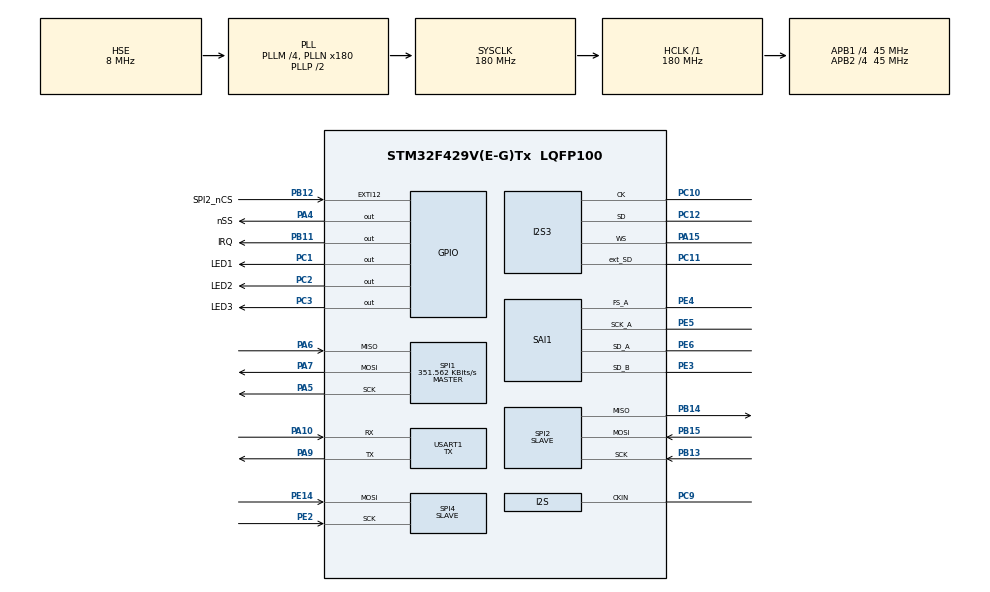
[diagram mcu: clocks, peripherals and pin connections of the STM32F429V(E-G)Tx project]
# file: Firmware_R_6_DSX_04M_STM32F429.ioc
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Dma.I2S3_EXT_RX.3.Direction=DMA_PERIPH_TO_MEMORY
Dma.I2S3_EXT_RX.3.FIFOMode=DMA_FIFOMODE_DISABLE
Dma.I2S3_EXT_RX.3.Instance=DMA1_Stream0
Dma.I2S3_EXT_RX.3.MemDataAlignment=DMA_MDATAALIGN_HALFWORD
Dma.I2S3_EXT_RX.3.MemInc=DMA_MINC_ENABLE
Dma.I2S3_EXT_RX.3.Mode=DMA_CIRCULAR
Dma.I2S3_EXT_RX.3.PeriphDataAlignment=DMA_PDATAALIGN_HALFWORD
Dma.I2S3_EXT_RX.3.PeriphInc=DMA_PINC_DISABLE
Dma.I2S3_EXT_RX.3.Priority=DMA_PRIORITY_HIGH
Dma.Request0=SAI1_B
Dma.Request1=SAI1_A
Dma.Request2=SPI3_TX
Dma.Request3=I2S3_EXT_RX
Dma.SAI1_A.1.Direction=DMA_MEMORY_TO_PERIPH
Dma.SAI1_A.1.FIFOMode=DMA_FIFOMODE_DISABLE
Dma.SAI1_A.1.Instance=DMA2_Stream1
Dma.SAI1_A.1.MemDataAlignment=DMA_MDATAALIGN_HALFWORD
Dma.SAI1_A.1.MemInc=DMA_MINC_ENABLE
Dma.SAI1_A.1.Mode=DMA_CIRCULAR
Dma.SAI1_A.1.PeriphDataAlignment=DMA_PDATAALIGN_HALFWORD
Dma.SAI1_A.1.PeriphInc=DMA_PINC_DISABLE
Dma.SAI1_A.1.Priority=DMA_PRIORITY_VERY_HIGH
Dma.SAI1_B.0.Direction=DMA_PERIPH_TO_MEMORY
Dma.SAI1_B.0.FIFOMode=DMA_FIFOMODE_DISABLE
Dma.SAI1_B.0.Instance=DMA2_Stream4
Dma.SAI1_B.0.MemDataAlignment=DMA_MDATAALIGN_HALFWORD
Dma.SAI1_B.0.MemInc=DMA_MINC_ENABLE
Dma.SAI1_B.0.Mode=DMA_CIRCULAR
Dma.SAI1_B.0.PeriphDataAlignment=DMA_PDATAALIGN_HALFWORD
Dma.SAI1_B.0.PeriphInc=DMA_PINC_DISABLE
Dma.SAI1_B.0.Priority=DMA_PRIORITY_VERY_HIGH
Dma.SPI3_TX.2.Direction=DMA_MEMORY_TO_PERIPH
Dma.SPI3_TX.2.FIFOMode=DMA_FIFOMODE_DISABLE
Dma.SPI3_TX.2.Instance=DMA1_Stream5
Dma.SPI3_TX.2.MemDataAlignment=DMA_MDATAALIGN_HALFWORD
Dma.SPI3_TX.2.MemInc=DMA_MINC_ENABLE
Dma.SPI3_TX.2.Mode=DMA_CIRCULAR
Dma.SPI3_TX.2.PeriphDataAlignment=DMA_PDATAALIGN_HALFWORD
Dma.SPI3_TX.2.PeriphInc=DMA_PINC_DISABLE
Dma.SPI3_TX.2.Priority=DMA_PRIORITY_HIGH
I2S3.AudioFreq=I2S_AUDIOFREQ_8K
I2S3.DataFormat=I2S_DATAFORMAT_16B
I2S3.ErrorAudioFreq=0.0 %
I2S3.FullDuplexMode=I2S_FULLDUPLEXMODE_ENABLE
I2S3.Instance=SPI$Index
I2S3.RealAudioFreq=8.0 KHz
I2S3.VirtualMode=I2S_MODE_MASTER
Mcu.Family=STM32F4
Mcu.Name=STM32F429V(E-G)Tx
Mcu.Package=LQFP100
NVIC.DMA1_Stream5_IRQn=true\:2\:0\:true\:false\:true\:false\:true
NVIC.DMA2_Stream4_IRQn=true\:1\:0\:true\:false\:true\:false\:true
NVIC.EXTI15_10_IRQn=true\:0\:0\:false\:false\:true\:true\:false
NVIC.PriorityGroup=NVIC_PRIORITYGROUP_4
NVIC.SPI2_IRQn=true\:0\:0\:true\:false\:true\:true\:true
NVIC.USART1_IRQn=true\:3\:0\:true\:false\:true\:true\:true
PA10.Mode=Asynchronous
PA10.Signal=USART1_RX
PA15.Mode=Full_Duplex_Master
PA15.Signal=I2S3_WS
PA4.GPIO_Label=nSS
PA4.GPIO_Speed=GPIO_SPEED_FREQ_HIGH
PA4.PinState=GPIO_PIN_SET
PA4.Signal=GPIO_Output
PA5.Mode=Full_Duplex_Master
PA5.Signal=SPI1_SCK
PA6.Mode=Full_Duplex_Master
PA6.Signal=SPI1_MISO
PA7.Mode=Full_Duplex_Master
PA7.Signal=SPI1_MOSI
PA9.Mode=Asynchronous
PA9.Signal=USART1_TX
PB11.GPIO_Label=IRQ
PB11.PinState=GPIO_PIN_SET
PB11.Signal=GPIO_Output
PB12.GPIO_Label=SPI2_nCS
PB12.GPIO_ModeDefaultEXTI=GPIO_MODE_IT_RISING_FALLING
PB12.GPIO_PuPd=GPIO_PULLUP
PB12.Signal=GPXTI12
PB13.Mode=Full_Duplex_Slave
PB13.Signal=SPI2_SCK
PB14.Mode=Full_Duplex_Slave
PB14.Signal=SPI2_MISO
PB15.Mode=Full_Duplex_Slave
PB15.Signal=SPI2_MOSI
PC1.GPIO_Label=LED1
PC1.PinState=GPIO_PIN_SET
PC1.Signal=GPIO_Output
PC10.Mode=Full_Duplex_Master
PC10.Signal=I2S3_CK
PC11.Mode=Full_Duplex_Master
PC11.Signal=I2S3_ext_SD
PC12.Mode=Full_Duplex_Master
PC12.Signal=I2S3_SD
PC2.GPIO_Label=LED2
PC2.Signal=GPIO_Output
PC3.GPIO_Label=LED3
PC3.Signal=GPIO_Output
PC9.Mode=Audio_ClockIn
PC9.Signal=I2S_CKIN
PE14.Mode=RX_Only_Simplex_Unidirect_Slave
PE14.Signal=SPI4_MOSI
PE2.Mode=RX_Only_Simplex_Unidirect_Slave
PE2.Signal=SPI4_SCK
PE3.GPIO_Speed=GPIO_SPEED_FREQ_VERY_HIGH
PE3.Mode=SAI_B_SyncSlave
PE3.Signal=SAI1_SD_B
PE4.GPIO_Speed=GPIO_SPEED_FREQ_VERY_HIGH
PE4.Mode=SAI_A_AsyncSlave
PE4.Signal=SAI1_FS_A
PE5.GPIO_Speed=GPIO_SPEED_FREQ_VERY_HIGH
PE5.Mode=SAI_A_AsyncSlave
PE5.Signal=SAI1_SCK_A
PE6.GPIO_Speed=GPIO_SPEED_FREQ_VERY_HIGH
PE6.Mode=SAI_A_AsyncSlave
PE6.Signal=SAI1_SD_A
PH0/OSC_IN.Mode=HSE-External-Oscillator
PH0/OSC_IN.Signal=RCC_OSC_IN
PH1/OSC_OUT.Mode=HSE-External-Oscillator
PH1/OSC_OUT.Signal=RCC_OSC_OUT
ProjectManager.HeapSize=0x1000
ProjectManager.StackSize=0x1000
ProjectManager.TargetToolchain=MDK-ARM V5.27
RCC.48MHZClocksFreq_Value=90000000
RCC.AHBFreq_Value=180000000
RCC.APB1CLKDivider=RCC_HCLK_DIV4
RCC.APB1Freq_Value=45000000
RCC.APB1TimFreq_Value=90000000
RCC.APB2CLKDivider=RCC_HCLK_DIV4
RCC.APB2Freq_Value=45000000
RCC.APB2TimFreq_Value=90000000
RCC.CortexFreq_Value=180000000
RCC.HCLKFreq_Value=180000000
RCC.HSE_VALUE=8000000
RCC.HSI_VALUE=16000000
RCC.LSE_VALUE=32768
RCC.PLLI2SR=5
RCC.PLLM=4
RCC.PLLN=180
RCC.PLLSAIN=216
RCC.PLLSAIQ=2
RCC.PLLSourceVirtual=RCC_PLLSOURCE_HSE
RCC.RCC_MCO2Source=RCC_MCO2SOURCE_HSE
RCC.RCC_MCODiv2=RCC_MCODIV_4
RCC.SYSCLKFreq_VALUE=180000000
RCC.SYSCLKSource=RCC_SYSCLKSOURCE_PLLCLK
RCC.VCOOutputFreq_Value=360000000
SAI1.AudioMode-SAI_A_AsyncSlave=SAI_MODESLAVE_TX
SAI1.ClockStrobing-SAI_A_AsyncSlave=SAI_CLOCKSTROBING_RISINGEDGE
SAI1.DataSize-SAI_A_AsyncSlave=SAI_DATASIZE_16
SAI1.DataSize-SAI_B_SyncSlave=SAI_DATASIZE_16
SAI1.FrameLength-SAI_A_AsyncSlave=256
SAI1.FrameLength-SAI_B_SyncSlave=256
SAI1.Instance-SAI_A_AsyncSlave=SAI$Index_Block_A
SAI1.Instance-SAI_B_SyncSlave=SAI$Index_Block_B
SAI1.Protocol-SAI_A_AsyncSlave=SAI_FREE_PROTOCOL
SAI1.SlotActive-SAI_A_AsyncSlave=0x00000003
SAI1.SlotActive-SAI_B_SyncSlave=0x00000003
SAI1.SlotNumber-SAI_A_AsyncSlave=16
SAI1.SlotNumber-SAI_B_SyncSlave=16
SAI1.Synchro_A=SAI_ASYNCHRONOUS
SAI1.Synchro_B=SAI_SYNCHRONOUS
SAI1.VirtualMode-SAI_A_AsyncSlave=VM_SLAVE
SAI1.VirtualMode-SAI_B_SyncSlave=VM_SLAVE
SAI1.VirtualSlotActive-SAI_A_AsyncSlave=SAI_SLOT_USERSETTING
SAI1.VirtualSlotActive-SAI_B_SyncSlave=SAI_SLOT_USERSETTING
SAI1.VirtualSlotActive0-SAI_A_AsyncSlave=true
SAI1.VirtualSlotActive0-SAI_B_SyncSlave=true
SAI1.VirtualSlotActive1-SAI_A_AsyncSlave=true
SAI1.VirtualSlotActive1-SAI_B_SyncSlave=true
SPI1.BaudRatePrescaler=SPI_BAUDRATEPRESCALER_128
SPI1.CLKPhase=SPI_PHASE_2EDGE
SPI1.CalculateBaudRate=351.562 KBits/s
SPI1.Direction=SPI_DIRECTION_2LINES
SPI1.Mode=SPI_MODE_MASTER
SPI1.VirtualType=VM_MASTER
SPI2.CLKPhase=SPI_PHASE_1EDGE
SPI2.CLKPolarity=SPI_POLARITY_HIGH
SPI2.Direction=SPI_DIRECTION_2LINES
SPI2.FirstBit=SPI_FIRSTBIT_LSB
SPI2.Mode=SPI_MODE_SLAVE
SPI2.VirtualType=VM_SLAVE
SPI4.CLKPhase=SPI_PHASE_2EDGE
SPI4.CLKPolarity=SPI_POLARITY_HIGH
SPI4.Direction=SPI_DIRECTION_2LINES_RXONLY
SPI4.FirstBit=SPI_FIRSTBIT_LSB
SPI4.Mode=SPI_MODE_SLAVE
SPI4.VirtualType=VM_SLAVE
TIM4.Period=702
TIM4.TIM_MasterOutputTrigger=TIM_TRGO_UPDATE
USART1.Mode=MODE_TX
USART1.VirtualMode=VM_ASYNC
VP_TIM4_VS_ClockSourceINT.Mode=Internal
board=custom

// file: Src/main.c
/* USER CODE BEGIN Header */
/**
 ******************************************************************************
 * @file           : main.c
 * @brief          : Main program body
 ******************************************************************************
 * @attention
 *
 * <h2><center>&copy; Copyright (c) 2020 STMicroelectronics.
 * All rights reserved.</center></h2>
 *
 * This software component is licensed by ST under BSD 3-Clause license,
 * the "License"; You may not use this file except in compliance with the
 * License. You may obtain a copy of the License at:
 *                        opensource.org/licenses/BSD-3-Clause
 *
 ******************************************************************************
 */
/* USER CODE END Header */

#include "main.h"

/* USER CODE BEGIN Includes */
#include "ST-BUS_SAI_in_out.h"
#include "uart.h"
#include "HDLC_Rx_low_level.h"
#include "spi_interface.h"
#include "mt9092_logic.h"
#include "g711.h"
#include "audio_in_out.h"
/* USER CODE END Includes */

I2S_HandleTypeDef hi2s3;
DMA_HandleTypeDef hdma_spi3_tx;
DMA_HandleTypeDef hdma_i2s3_ext_rx;

SAI_HandleTypeDef hsai_BlockA1;
SAI_HandleTypeDef hsai_BlockB1;
DMA_HandleTypeDef hdma_sai1_b;
DMA_HandleTypeDef hdma_sai1_a;

SPI_HandleTypeDef hspi1;
SPI_HandleTypeDef hspi2;
SPI_HandleTypeDef hspi4;

TIM_HandleTypeDef htim4;

/* USER CODE BEGIN PV */
int32_t dummy __attribute__((at(0x20000000))) = 5; // Важно! устраняет непонятный косяк: только после перепрошивки, после первого же прерывания по приему SPI2 портится содержимое ячейки памяти по этомц адресу
/* USER CODE END PV */

void SystemClock_Config(void);
static void MX_GPIO_Init(void);
static void MX_DMA_Init(void);
static void MX_SAI1_Init(void);
static void MX_USART1_UART_Init(void);
static void MX_SPI2_Init(void);
static void MX_SPI4_Init(void);
static void MX_TIM4_Init(void);
static void MX_I2S3_Init(void);
static void MX_SPI1_Init(void);

int main(void)
{

  /* MCU Configuration--------------------------------------------------------*/

  /* Reset of all peripherals, Initializes the Flash interface and the Systick. */
  HAL_Init();

  /* USER CODE BEGIN Init */
//	HAL_Delay(500); // для правильной работы SPI
  /* USER CODE END Init */

  /* Configure the system clock */
  SystemClock_Config();

  /* Initialize all configured peripherals */
  MX_GPIO_Init();
  MX_DMA_Init();
  MX_SAI1_Init();
  MX_USART1_UART_Init();
  MX_SPI2_Init();
  MX_SPI4_Init();
  MX_TIM4_Init();
  MX_I2S3_Init();
  MX_SPI1_Init();
  /* USER CODE BEGIN 2 */
    uartPuts("\rFirmware version: "FIRMWARE_VERSION"\r\n");
	DV_port_input_Init();
	mt9092LogicInit();
	spi_interface_Init();
	AudioInit();
  AudioInOutInit();
//	ReadProtect(); //   <---------------------- защита от считывания
	uartReceiveStop(); // прием не нужен
  /* USER CODE END 2 */

  /* Infinite loop */
	while (1) {

    /* USER CODE BEGIN 3 */
		processHdlcFrame();
		doMt9092Logic();
		spiLedService();
	}
  /* USER CODE END 3 */
}

void SystemClock_Config(void)
{
  RCC_OscInitTypeDef RCC_OscInitStruct = {0};
  RCC_ClkInitTypeDef RCC_ClkInitStruct = {0};
  RCC_PeriphCLKInitTypeDef PeriphClkInitStruct = {0};

  /** Macro to configure SAI1BlockB clock source selection
  */
  __HAL_RCC_SAI_BLOCKBCLKSOURCE_CONFIG(SAI_CLKSOURCE_PLLSAI);
  /** Macro to configure SAI1BlockA clock source selection
  */
  __HAL_RCC_SAI_BLOCKACLKSOURCE_CONFIG(SAI_CLKSOURCE_PLLSAI);
  /** Configure the main internal regulator output voltage
  */
  __HAL_RCC_PWR_CLK_ENABLE();
  __HAL_PWR_VOLTAGESCALING_CONFIG(PWR_REGULATOR_VOLTAGE_SCALE1);
  /** Initializes the CPU, AHB and APB busses clocks
  */
  RCC_OscInitStruct.OscillatorType = RCC_OSCILLATORTYPE_HSE;
  RCC_OscInitStruct.HSEState = RCC_HSE_ON;
  RCC_OscInitStruct.PLL.PLLState = RCC_PLL_ON;
  RCC_OscInitStruct.PLL.PLLSource = RCC_PLLSOURCE_HSE;
  RCC_OscInitStruct.PLL.PLLM = 4;
  RCC_OscInitStruct.PLL.PLLN = 180;
  RCC_OscInitStruct.PLL.PLLP = RCC_PLLP_DIV2;
  RCC_OscInitStruct.PLL.PLLQ = 4;
  if (HAL_RCC_OscConfig(&RCC_OscInitStruct) != HAL_OK)
  {
    Error_Handler();
  }
  /** Activate the Over-Drive mode
  */
  if (HAL_PWREx_EnableOverDrive() != HAL_OK)
  {
    Error_Handler();
  }
  /** Initializes the CPU, AHB and APB busses clocks
  */
  RCC_ClkInitStruct.ClockType = RCC_CLOCKTYPE_HCLK|RCC_CLOCKTYPE_SYSCLK
                              |RCC_CLOCKTYPE_PCLK1|RCC_CLOCKTYPE_PCLK2;
  RCC_ClkInitStruct.SYSCLKSource = RCC_SYSCLKSOURCE_PLLCLK;
  RCC_ClkInitStruct.AHBCLKDivider = RCC_SYSCLK_DIV1;
  RCC_ClkInitStruct.APB1CLKDivider = RCC_HCLK_DIV4;
  RCC_ClkInitStruct.APB2CLKDivider = RCC_HCLK_DIV4;

  if (HAL_RCC_ClockConfig(&RCC_ClkInitStruct, FLASH_LATENCY_5) != HAL_OK)
  {
    Error_Handler();
  }
  PeriphClkInitStruct.PeriphClockSelection = RCC_PERIPHCLK_I2S|RCC_PERIPHCLK_SAI_PLLSAI;
  PeriphClkInitStruct.PLLI2S.PLLI2SN = 192;
  PeriphClkInitStruct.PLLI2S.PLLI2SR = 5;
  PeriphClkInitStruct.PLLSAI.PLLSAIN = 216;
  PeriphClkInitStruct.PLLSAI.PLLSAIQ = 2;
  PeriphClkInitStruct.PLLSAIDivQ = 1;
  if (HAL_RCCEx_PeriphCLKConfig(&PeriphClkInitStruct) != HAL_OK)
  {
    Error_Handler();
  }
}

static void MX_I2S3_Init(void)
{

  hi2s3.Instance = SPI3;
  hi2s3.Init.Mode = I2S_MODE_MASTER_TX;
  hi2s3.Init.Standard = I2S_STANDARD_PHILIPS;
  hi2s3.Init.DataFormat = I2S_DATAFORMAT_16B;
  hi2s3.Init.MCLKOutput = I2S_MCLKOUTPUT_DISABLE;
  hi2s3.Init.AudioFreq = I2S_AUDIOFREQ_8K;
  hi2s3.Init.CPOL = I2S_CPOL_LOW;
  hi2s3.Init.ClockSource = I2S_CLOCK_PLL;
  hi2s3.Init.FullDuplexMode = I2S_FULLDUPLEXMODE_ENABLE;
  if (HAL_I2S_Init(&hi2s3) != HAL_OK)
  {
    Error_Handler();
  }

}

static void MX_SAI1_Init(void)
{

  hsai_BlockA1.Instance = SAI1_Block_A;
  hsai_BlockA1.Init.Protocol = SAI_FREE_PROTOCOL;
  hsai_BlockA1.Init.AudioMode = SAI_MODESLAVE_TX;
  hsai_BlockA1.Init.DataSize = SAI_DATASIZE_16;
  hsai_BlockA1.Init.FirstBit = SAI_FIRSTBIT_MSB;
  hsai_BlockA1.Init.ClockStrobing = SAI_CLOCKSTROBING_RISINGEDGE;
  hsai_BlockA1.Init.Synchro = SAI_ASYNCHRONOUS;
  hsai_BlockA1.Init.OutputDrive = SAI_OUTPUTDRIVE_DISABLE;
  hsai_BlockA1.Init.FIFOThreshold = SAI_FIFOTHRESHOLD_EMPTY;
  hsai_BlockA1.FrameInit.FrameLength = 256;
  hsai_BlockA1.FrameInit.ActiveFrameLength = 1;
  hsai_BlockA1.FrameInit.FSDefinition = SAI_FS_STARTFRAME;
  hsai_BlockA1.FrameInit.FSPolarity = SAI_FS_ACTIVE_LOW;
  hsai_BlockA1.FrameInit.FSOffset = SAI_FS_FIRSTBIT;
  hsai_BlockA1.SlotInit.FirstBitOffset = 0;
  hsai_BlockA1.SlotInit.SlotSize = SAI_SLOTSIZE_DATASIZE;
  hsai_BlockA1.SlotInit.SlotNumber = 16;
  hsai_BlockA1.SlotInit.SlotActive = 0x00000003;
  if (HAL_SAI_Init(&hsai_BlockA1) != HAL_OK)
  {
    Error_Handler();
  }
  hsai_BlockB1.Instance = SAI1_Block_B;
  hsai_BlockB1.Init.Protocol = SAI_FREE_PROTOCOL;
  hsai_BlockB1.Init.AudioMode = SAI_MODESLAVE_RX;
  hsai_BlockB1.Init.DataSize = SAI_DATASIZE_16;
  hsai_BlockB1.Init.FirstBit = SAI_FIRSTBIT_MSB;
  hsai_BlockB1.Init.ClockStrobing = SAI_CLOCKSTROBING_FALLINGEDGE;
  hsai_BlockB1.Init.Synchro = SAI_SYNCHRONOUS;
  hsai_BlockB1.Init.OutputDrive = SAI_OUTPUTDRIVE_DISABLE;
  hsai_BlockB1.Init.FIFOThreshold = SAI_FIFOTHRESHOLD_EMPTY;
  hsai_BlockB1.FrameInit.FrameLength = 256;
  hsai_BlockB1.FrameInit.ActiveFrameLength = 1;
  hsai_BlockB1.FrameInit.FSDefinition = SAI_FS_STARTFRAME;
  hsai_BlockB1.FrameInit.FSPolarity = SAI_FS_ACTIVE_LOW;
  hsai_BlockB1.FrameInit.FSOffset = SAI_FS_FIRSTBIT;
  hsai_BlockB1.SlotInit.FirstBitOffset = 0;
  hsai_BlockB1.SlotInit.SlotSize = SAI_SLOTSIZE_DATASIZE;
  hsai_BlockB1.SlotInit.SlotNumber = 16;
  hsai_BlockB1.SlotInit.SlotActive = 0x00000003;
  if (HAL_SAI_Init(&hsai_BlockB1) != HAL_OK)
  {
    Error_Handler();
  }

}

static void MX_SPI1_Init(void)
{

  /* SPI1 parameter configuration*/
  hspi1.Instance = SPI1;
  hspi1.Init.Mode = SPI_MODE_MASTER;
  hspi1.Init.Direction = SPI_DIRECTION_2LINES;
  hspi1.Init.DataSize = SPI_DATASIZE_8BIT;
  hspi1.Init.CLKPolarity = SPI_POLARITY_LOW;
  hspi1.Init.CLKPhase = SPI_PHASE_2EDGE;
  hspi1.Init.NSS = SPI_NSS_SOFT;
  hspi1.Init.BaudRatePrescaler = SPI_BAUDRATEPRESCALER_128;
  hspi1.Init.FirstBit = SPI_FIRSTBIT_MSB;
  hspi1.Init.TIMode = SPI_TIMODE_DISABLE;
  hspi1.Init.CRCCalculation = SPI_CRCCALCULATION_DISABLE;
  hspi1.Init.CRCPolynomial = 10;
  if (HAL_SPI_Init(&hspi1) != HAL_OK)
  {
    Error_Handler();
  }

}

static void MX_SPI2_Init(void)
{

  /* SPI2 parameter configuration*/
  hspi2.Instance = SPI2;
  hspi2.Init.Mode = SPI_MODE_SLAVE;
  hspi2.Init.Direction = SPI_DIRECTION_2LINES;
  hspi2.Init.DataSize = SPI_DATASIZE_8BIT;
  hspi2.Init.CLKPolarity = SPI_POLARITY_HIGH;
  hspi2.Init.CLKPhase = SPI_PHASE_1EDGE;
  hspi2.Init.NSS = SPI_NSS_SOFT;
  hspi2.Init.FirstBit = SPI_FIRSTBIT_LSB;
  hspi2.Init.TIMode = SPI_TIMODE_DISABLE;
  hspi2.Init.CRCCalculation = SPI_CRCCALCULATION_DISABLE;
  hspi2.Init.CRCPolynomial = 10;
  if (HAL_SPI_Init(&hspi2) != HAL_OK)
  {
    Error_Handler();
  }

}

static void MX_SPI4_Init(void)
{

  /* SPI4 parameter configuration*/
  hspi4.Instance = SPI4;
  hspi4.Init.Mode = SPI_MODE_SLAVE;
  hspi4.Init.Direction = SPI_DIRECTION_2LINES_RXONLY;
  hspi4.Init.DataSize = SPI_DATASIZE_8BIT;
  hspi4.Init.CLKPolarity = SPI_POLARITY_HIGH;
  hspi4.Init.CLKPhase = SPI_PHASE_2EDGE;
  hspi4.Init.NSS = SPI_NSS_SOFT;
  hspi4.Init.FirstBit = SPI_FIRSTBIT_LSB;
  hspi4.Init.TIMode = SPI_TIMODE_DISABLE;
  hspi4.Init.CRCCalculation = SPI_CRCCALCULATION_DISABLE;
  hspi4.Init.CRCPolynomial = 10;
  if (HAL_SPI_Init(&hspi4) != HAL_OK)
  {
    Error_Handler();
  }

}

static void MX_TIM4_Init(void)
{

  TIM_ClockConfigTypeDef sClockSourceConfig = {0};
  TIM_MasterConfigTypeDef sMasterConfig = {0};

  htim4.Instance = TIM4;
  htim4.Init.Prescaler = 0;
  htim4.Init.CounterMode = TIM_COUNTERMODE_UP;
  htim4.Init.Period = 702;
  htim4.Init.ClockDivision = TIM_CLOCKDIVISION_DIV1;
  htim4.Init.AutoReloadPreload = TIM_AUTORELOAD_PRELOAD_DISABLE;
  if (HAL_TIM_Base_Init(&htim4) != HAL_OK)
  {
    Error_Handler();
  }
  sClockSourceConfig.ClockSource = TIM_CLOCKSOURCE_INTERNAL;
  if (HAL_TIM_ConfigClockSource(&htim4, &sClockSourceConfig) != HAL_OK)
  {
    Error_Handler();
  }
  sMasterConfig.MasterOutputTrigger = TIM_TRGO_UPDATE;
  sMasterConfig.MasterSlaveMode = TIM_MASTERSLAVEMODE_DISABLE;
  if (HAL_TIMEx_MasterConfigSynchronization(&htim4, &sMasterConfig) != HAL_OK)
  {
    Error_Handler();
  }

}

static void MX_USART1_UART_Init(void)
{

  LL_USART_InitTypeDef USART_InitStruct = {0};

  LL_GPIO_InitTypeDef GPIO_InitStruct = {0};

  /* Peripheral clock enable */
  LL_APB2_GRP1_EnableClock(LL_APB2_GRP1_PERIPH_USART1);

  LL_AHB1_GRP1_EnableClock(LL_AHB1_GRP1_PERIPH_GPIOA);
  /**USART1 GPIO Configuration
  PA9   ------> USART1_TX
  PA10   ------> USART1_RX
  */
  GPIO_InitStruct.Pin = LL_GPIO_PIN_9|LL_GPIO_PIN_10;
  GPIO_InitStruct.Mode = LL_GPIO_MODE_ALTERNATE;
  GPIO_InitStruct.Speed = LL_GPIO_SPEED_FREQ_VERY_HIGH;
  GPIO_InitStruct.OutputType = LL_GPIO_OUTPUT_PUSHPULL;
  GPIO_InitStruct.Pull = LL_GPIO_PULL_NO;
  GPIO_InitStruct.Alternate = LL_GPIO_AF_7;
  LL_GPIO_Init(GPIOA, &GPIO_InitStruct);

  /* USART1 interrupt Init */
  NVIC_SetPriority(USART1_IRQn, NVIC_EncodePriority(NVIC_GetPriorityGrouping(),3, 0));
  NVIC_EnableIRQ(USART1_IRQn);

  USART_InitStruct.BaudRate = 115200;
  USART_InitStruct.DataWidth = LL_USART_DATAWIDTH_8B;
  USART_InitStruct.StopBits = LL_USART_STOPBITS_1;
  USART_InitStruct.Parity = LL_USART_PARITY_NONE;
  USART_InitStruct.TransferDirection = LL_USART_DIRECTION_TX;
  USART_InitStruct.HardwareFlowControl = LL_USART_HWCONTROL_NONE;
  USART_InitStruct.OverSampling = LL_USART_OVERSAMPLING_16;
  LL_USART_Init(USART1, &USART_InitStruct);
  LL_USART_ConfigAsyncMode(USART1);
  LL_USART_Enable(USART1);

}

static void MX_DMA_Init(void)
{

  /* DMA controller clock enable */
  __HAL_RCC_DMA2_CLK_ENABLE();
  __HAL_RCC_DMA1_CLK_ENABLE();

  /* DMA interrupt init */
  /* DMA1_Stream5_IRQn interrupt configuration */
  HAL_NVIC_SetPriority(DMA1_Stream5_IRQn, 2, 0);
  HAL_NVIC_EnableIRQ(DMA1_Stream5_IRQn);
  /* DMA2_Stream4_IRQn interrupt configuration */
  HAL_NVIC_SetPriority(DMA2_Stream4_IRQn, 1, 0);
  HAL_NVIC_EnableIRQ(DMA2_Stream4_IRQn);

}

static void MX_GPIO_Init(void)
{
  GPIO_InitTypeDef GPIO_InitStruct = {0};

  /* GPIO Ports Clock Enable */
  __HAL_RCC_GPIOE_CLK_ENABLE();
  __HAL_RCC_GPIOH_CLK_ENABLE();
  __HAL_RCC_GPIOC_CLK_ENABLE();
  __HAL_RCC_GPIOA_CLK_ENABLE();
  __HAL_RCC_GPIOB_CLK_ENABLE();

  /*Configure GPIO pin Output Level */
  HAL_GPIO_WritePin(LED1_GPIO_Port, LED1_Pin, GPIO_PIN_SET);

  /*Configure GPIO pin Output Level */
  HAL_GPIO_WritePin(GPIOC, LED2_Pin|LED3_Pin, GPIO_PIN_RESET);

  /*Configure GPIO pin Output Level */
  HAL_GPIO_WritePin(nSS_GPIO_Port, nSS_Pin, GPIO_PIN_SET);

  /*Configure GPIO pin Output Level */
  HAL_GPIO_WritePin(IRQ_GPIO_Port, IRQ_Pin, GPIO_PIN_SET);

  /*Configure GPIO pins : LED1_Pin LED2_Pin LED3_Pin */
  GPIO_InitStruct.Pin = LED1_Pin|LED2_Pin|LED3_Pin;
  GPIO_InitStruct.Mode = GPIO_MODE_OUTPUT_PP;
  GPIO_InitStruct.Pull = GPIO_NOPULL;
  GPIO_InitStruct.Speed = GPIO_SPEED_FREQ_LOW;
  HAL_GPIO_Init(GPIOC, &GPIO_InitStruct);

  /*Configure GPIO pin : nSS_Pin */
  GPIO_InitStruct.Pin = nSS_Pin;
  GPIO_InitStruct.Mode = GPIO_MODE_OUTPUT_PP;
  GPIO_InitStruct.Pull = GPIO_NOPULL;
  GPIO_InitStruct.Speed = GPIO_SPEED_FREQ_HIGH;
  HAL_GPIO_Init(nSS_GPIO_Port, &GPIO_InitStruct);

  /*Configure GPIO pin : IRQ_Pin */
  GPIO_InitStruct.Pin = IRQ_Pin;
  GPIO_InitStruct.Mode = GPIO_MODE_OUTPUT_PP;
  GPIO_InitStruct.Pull = GPIO_NOPULL;
  GPIO_InitStruct.Speed = GPIO_SPEED_FREQ_LOW;
  HAL_GPIO_Init(IRQ_GPIO_Port, &GPIO_InitStruct);

  /*Configure GPIO pin : SPI2_nCS_Pin */
  GPIO_InitStruct.Pin = SPI2_nCS_Pin;
  GPIO_InitStruct.Mode = GPIO_MODE_IT_RISING_FALLING;
  GPIO_InitStruct.Pull = GPIO_PULLUP;
  HAL_GPIO_Init(SPI2_nCS_GPIO_Port, &GPIO_InitStruct);

  /*Configure GPIO pin : PC9 */
  GPIO_InitStruct.Pin = GPIO_PIN_9;
  GPIO_InitStruct.Mode = GPIO_MODE_AF_PP;
  GPIO_InitStruct.Pull = GPIO_NOPULL;
  GPIO_InitStruct.Speed = GPIO_SPEED_FREQ_LOW;
  GPIO_InitStruct.Alternate = GPIO_AF5_SPI1;
  HAL_GPIO_Init(GPIOC, &GPIO_InitStruct);

  /* EXTI interrupt init*/
  HAL_NVIC_SetPriority(EXTI15_10_IRQn, 0, 0);
  HAL_NVIC_EnableIRQ(EXTI15_10_IRQn);

}

void Error_Handler(void)
{
}

/************************ (C) COPYRIGHT STMicroelectronics *****END OF FILE****/
